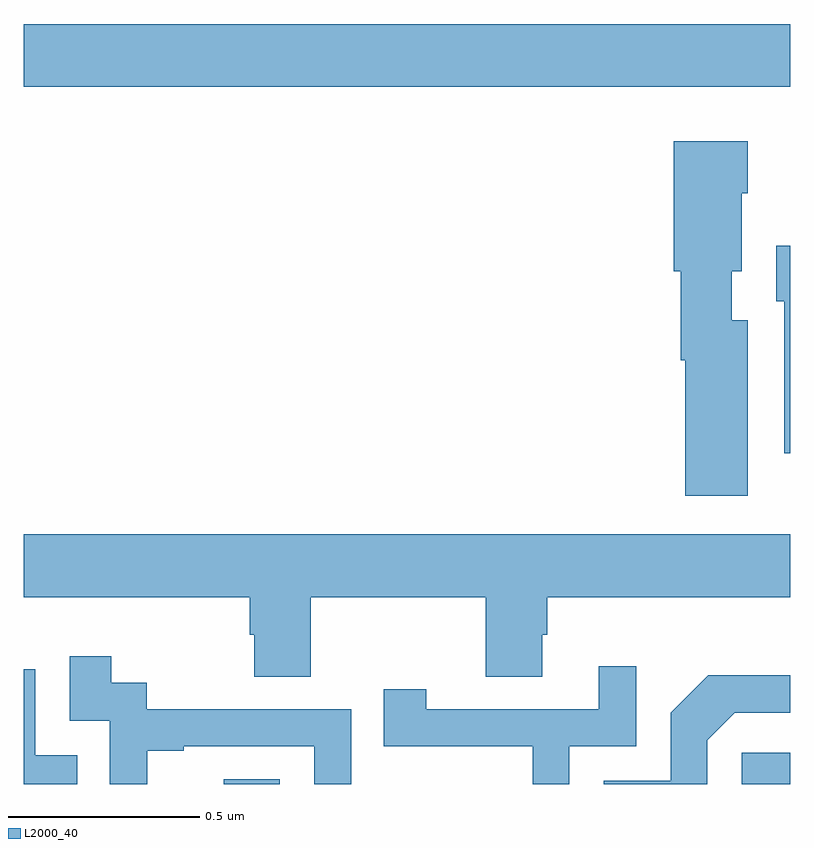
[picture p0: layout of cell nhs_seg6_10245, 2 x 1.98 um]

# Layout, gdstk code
import gdstk
lib = gdstk.Library(unit=1e-6, precision=1e-09)
def R(c, l, rs):  # rectangles x0, y0, x1, y1
    for r in rs: c.add(gdstk.rectangle(r[:2], r[2:], *l))
def P(c, l, *ps):  # polygons
    for p in ps: c.add(gdstk.Polygon(p, *l))
L2000_40 = (2000, 40)

nhs_seg6_10245 = lib.new_cell('nhs_seg6_10245')
R(nhs_seg6_10245, L2000_40, [(244.521,961.5,244.668,961.513), (245.874,961.5,246,961.582), (244,963.32,246,963.484)])
P(nhs_seg6_10245, L2000_40, [(245.89,962.71),(245.848,962.71),(245.848,962.838),(245.874,962.838),(245.874,963.042),(245.89,963.042),(245.89,963.178),(245.696,963.178),(245.696,962.838),(245.714,962.838),(245.714,962.606),(245.726,962.606),(245.726,962.253),(245.89,962.253)],
  [(246,962.905),(245.964,962.905),(245.964,962.76),(245.985,962.76),(245.985,962.364),(246,962.364)],
  [(244,961.988),(244.589,961.988),(244.589,961.89),(244.601,961.89),(244.601,961.78),(244.749,961.78),(244.749,961.988),(245.206,961.988),(245.206,961.78),(245.353,961.78),(245.353,961.89),(245.366,961.89),(245.366,961.988),(246,961.988),(246,962.152),(244,962.152)],
  [(244.322,961.587),(244.417,961.587),(244.417,961.599),(244.758,961.599),(244.758,961.5),(244.854,961.5),(244.854,961.695),(244.32,961.695),(244.32,961.764),(244.228,961.764),(244.228,961.834),(244.119,961.834),(244.119,961.665),(244.224,961.665),(244.224,961.5),(244.322,961.5)],
  [(245.424,961.599),(245.598,961.599),(245.598,961.807),(245.501,961.807),(245.501,961.695),(245.05,961.695),(245.05,961.747),(244.939,961.747),(244.939,961.599),(245.328,961.599),(245.328,961.5),(245.424,961.5)],
  [(244.139,961.575),(244.029,961.575),(244.029,961.8),(244,961.8),(244,961.5),(244.139,961.5)],
  [(245.784,961.614),(245.856,961.686),(246,961.686),(246,961.784),(245.786,961.784),(245.688,961.686),(245.688,961.509),(245.514,961.509),(245.514,961.5),(245.784,961.5)])

lib.write_gds('nhs_seg6_10245.gds')
